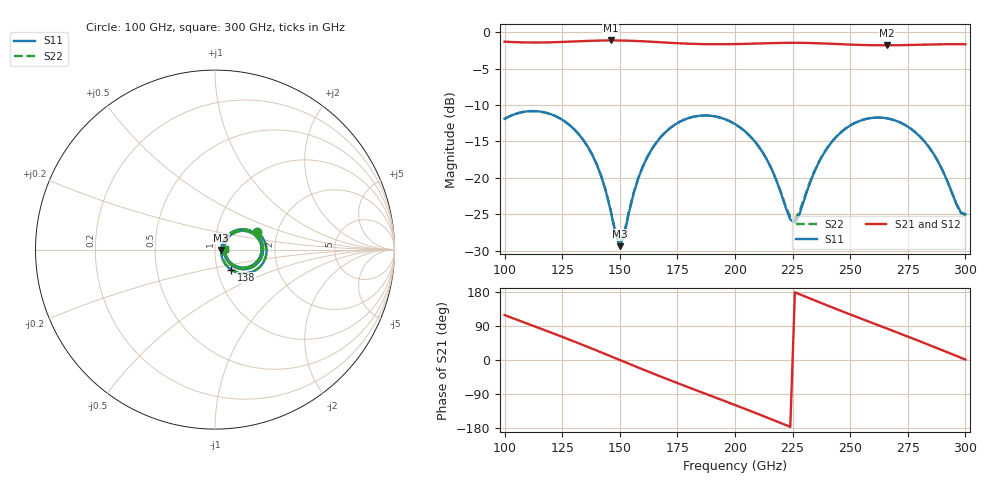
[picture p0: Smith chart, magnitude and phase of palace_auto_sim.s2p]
#  GHZ S DB R 50
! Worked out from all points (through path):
!   101 points, 100 GHz to 300 GHz, reference 50 ohm
!   highest |S21| = -1.12 dB at 146 GHz (marker M1); lowest = -1.8 dB at 266 GHz (marker M2)
!   group delay of S21, straight-line fit = 6.64 ps
!   lowest |S11| = -29.4 dB at 150 GHz (marker M3), VSWR 1.07, Z = 53.5 - j0.267 ohm
!   |S11| at or under -10 dB: start of sweep to end of sweep
!   |S22| runs from -29.0 to -10.8 dB; largest |S21 - S12| = 1.5e-13
!   S11 on the Smith chart (normalised r, x): 100 GHz: 1.58, +0.32; 138 GHz: 1.17, -0.27; 300 GHz: 1.12, +0.01
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100  -11.89 22.2  -1.29 118.5  -1.29 118.5  -11.90 22.5
108  -10.95 6.2  -1.39 100.2  -1.39 100.2  -10.95 6.5
118  -11.05 -14.0  -1.39 77.4  -1.39 77.4  -11.06 -13.6
134  -14.73 -45.1  -1.21 39.6  -1.21 39.6  -14.74 -44.6
138  -16.80 -51.3  -1.17 29.8  -1.17 29.8  -16.81 -50.7
146  -24.47 -48.9  -1.12 10.0  -1.12 10.0  -24.39 -47.5
150  -29.39 -4.2  -1.13 0.0  -1.13 0.0  -29.05 -3.6
158  -20.10 48.7  -1.21 -19.9  -1.21 -19.9  -20.04 48.1
168  -14.32 36.2  -1.38 -44.2  -1.38 -44.2  -14.31 36.0
184  -11.49 6.0  -1.61 -81.8  -1.61 -81.8  -11.49 6.0
200  -12.61 -23.7  -1.62 -118.8  -1.62 -118.8  -12.61 -23.5
212  -16.49 -41.6  -1.52 -147.2  -1.52 -147.2  -16.49 -41.0
224  -25.74 -15.9  -1.45 -176.5  -1.45 -176.5  -25.42 -14.7
226  -26.16 5.2  -1.45 178.5  -1.45 178.5  -25.76 5.4
234  -19.52 42.9  -1.49 158.8  -1.49 158.8  -19.40 41.8
242  -15.08 36.6  -1.58 139.3  -1.58 139.3  -15.04 35.9
250  -12.82 23.3  -1.69 120.2  -1.69 120.2  -12.79 22.7
266  -11.83 -6.6  -1.79 82.9  -1.79 82.9  -11.82 -7.0
268  -11.97 -10.3  -1.78 78.2  -1.78 78.2  -11.96 -10.7
284  -15.69 -36.3  -1.68 40.3  -1.68 40.3  -15.70 -36.8
292  -20.31 -38.1  -1.64 20.8  -1.64 20.8  -20.34 -38.7
300  -24.99 5.2  -1.65 1.2  -1.65 1.2  -25.11 5.0
